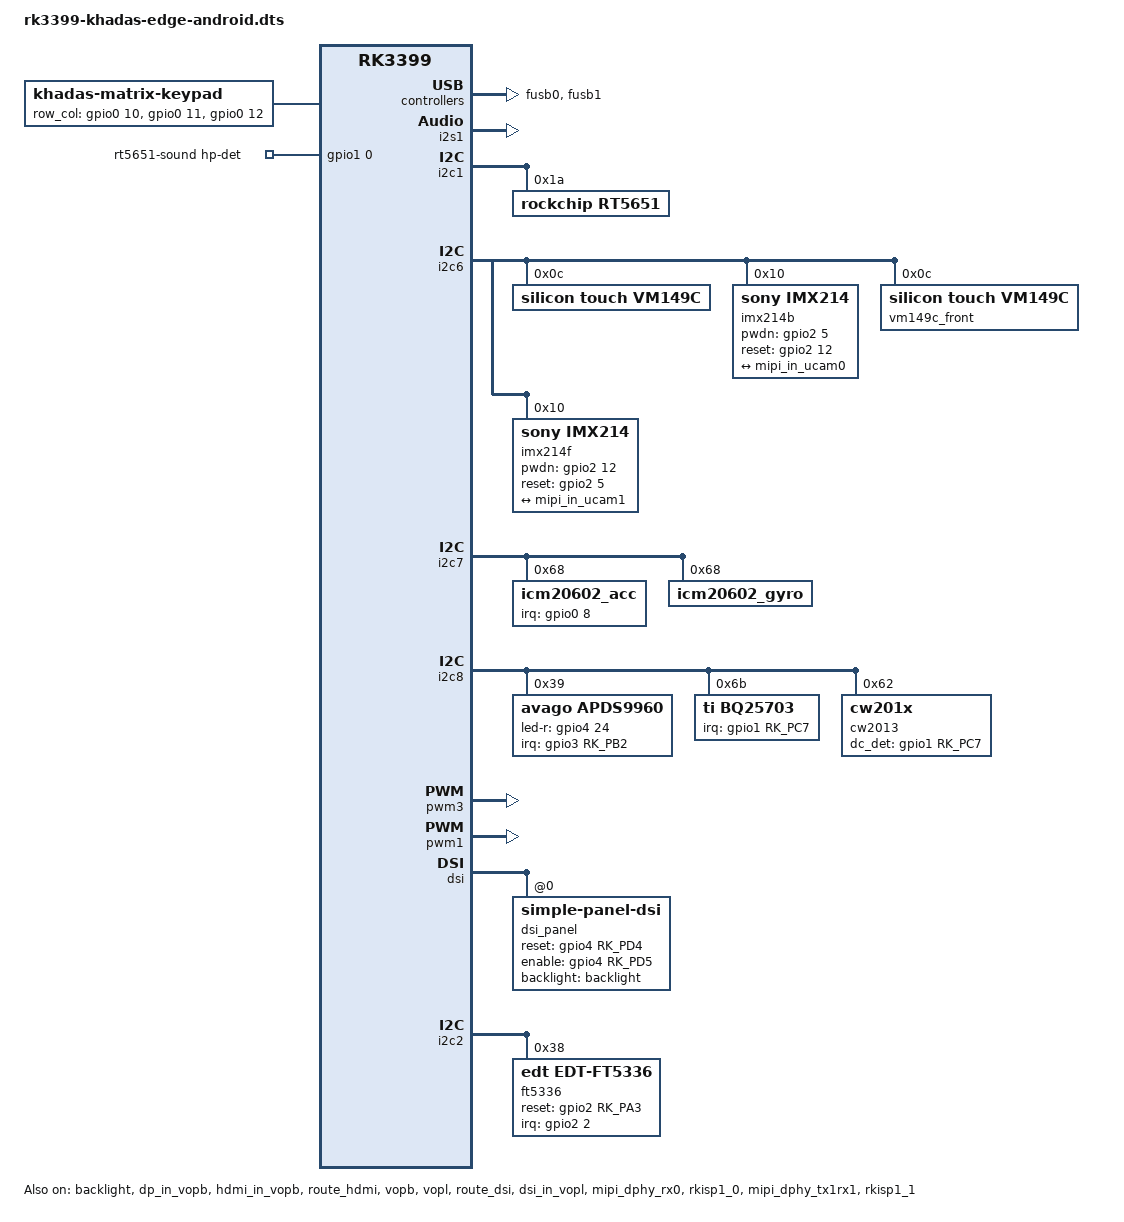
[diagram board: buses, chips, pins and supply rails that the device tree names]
// SPDX-License-Identifier: (GPL-2.0+ OR MIT)
/*
 * Copyright (c) 2018 Fuzhou Rockchip Electronics Co., Ltd
 */

/dts-v1/;

#include "rk3399-khadas-edge.dtsi"
#include <dt-bindings/sensor-dev.h>
#include <dt-bindings/input/input.h>

/ {
	compatible = "Khadas,edge", "rockchip,rk3399";
	
    khadas-matrix-keypad {
		status = "okay";
		compatible = "khadas-matrix-keypad";
		row_col_gpio =
				<&gpio0 10 GPIO_ACTIVE_HIGH>,
				<&gpio0 11 GPIO_ACTIVE_HIGH>,
				<&gpio0 12 GPIO_ACTIVE_HIGH>;
		pinctrl-names = "default";
		pinctrl-0 = <&matrix_gpio>;
		debounce-delay-ms = <10>;
		col-scan-delay-us = <10>;
		linux,no-autorepeat;
	};

	rt5651-sound {
		status = "okay";
		compatible = "simple-audio-card";

		pinctrl-names = "default";
		pinctrl-0 = <&rt5651_hpdet>;


		simple-audio-card,format = "i2s";
		simple-audio-card,name = "realtek,rt5651-codec";
		simple-audio-card,mclk-fs = <256>;
		simple-audio-card,hp-det-gpio = <&gpio1 0 GPIO_ACTIVE_HIGH>;
		simple-audio-card,widgets =
			"Microphone", "Mic Jack",
			"Headphone", "Headphone Jack";
		simple-audio-card,routing =
			"Mic Jack", "MICBIAS1",
			"IN1P", "Mic Jack",
			"Headphone Jack", "HPOL",
			"Headphone Jack", "HPOR";
		simple-audio-card,cpu {
			sound-dai = <&i2s1>;
		};
		simple-audio-card,codec {
			sound-dai = <&rt5651>;
		};
	};
};

&fusb0 {
	status = "okay";
	max-input-voltage = <13000000>;
	max-input-current = <6000000>;
	charge-dev = <&bq25703>;
};

&fusb1 {
	status = "okay";
	max-input-voltage = <13000000>;
	max-input-current = <6000000>;
	charge-dev = <&bq25703>;
};

&i2s1 {
	status = "okay";
	rockchip,i2s-broken-burst-len;
	rockchip,playback-channels = <2>;
	rockchip,capture-channels = <2>;
	#sound-dai-cells = <0>;
};

&isp0_mmu {
	status = "okay";
};

&isp0 {
	status = "disabled";
};

&isp1_mmu {
	status = "okay";
};

&isp1 {
	status = "disabled";
};

&i2c1 {
	status = "okay";
	i2c-scl-rising-time-ns = <300>;
	i2c-scl-falling-time-ns = <15>;

	rt5651: rt5651@1a {
		#sound-dai-cells = <0>;
		compatible = "rockchip,rt5651";
		reg = <0x1a>;
		clocks = <&cru SCLK_I2S_8CH_OUT>;
		clock-names = "mclk";
		pinctrl-names = "default";
		pinctrl-0 = <&i2s_8ch_mclk>;
		status = "okay";
	};
};

&i2c6 {
	status = "okay";

	vm149c: vm149c@0c {
		compatible = "silicon touch,vm149c";
		status = "okay";
		reg = <0x0c>;
		rockchip,camera-module-index = <0>;
		rockchip,camera-module-facing = "back";
	};
	
	imx214b: imx214b@10 {
		compatible = "sony,imx214";
		status = "okay";
		reg = <0x10>;
		clocks = <&cru SCLK_CIF_OUT>;
		clock-names = "xvclk";
		/* avdd-supply = <>; */
		/* dvdd-supply = <>; */
		/* dovdd-supply = <>; */
		/* reset-gpios = <>; */
		pwdn-gpios = <&gpio2 5 GPIO_ACTIVE_HIGH>;
		reset-gpios = <&gpio2 12 GPIO_ACTIVE_HIGH>;
		pinctrl-names = "rockchip,camera_default";
		pinctrl-0 = <&cif_clkout>;
		rockchip,camera-module-index = <0>;
		rockchip,camera-module-facing = "back";
		rockchip,camera-module-name = "YG9626-S600Y7-C";
		rockchip,camera-module-lens-name = "LG-50013A7";
		lens-focus = <&vm149c>;
		port {
			ucam_out0: endpoint {
				remote-endpoint = <&mipi_in_ucam0>;
				//remote-endpoint = <&mipi_in_ucam1>;
				data-lanes = <1 2>;
			};
		};
	};	

	vm149c_front: vm149c_front@0c {
		compatible = "silicon touch,vm149c";
		status = "okay";
		reg = <0x0c>;
		rockchip,camera-module-index = <1>;
		rockchip,camera-module-facing = "front";		
	};
	
	imx214f: imx214f@10 {
		compatible = "sony,imx214";
		status = "okay";
		reg = <0x10>;
		clocks = <&cru SCLK_CIF_OUT>;
		clock-names = "xvclk";
		/* avdd-supply = <>; */
		/* dvdd-supply = <>; */
		/* dovdd-supply = <>; */
		/* reset-gpios = <>; */
		pwdn-gpios = <&gpio2 12 GPIO_ACTIVE_HIGH>;
		reset-gpios = <&gpio2 5 GPIO_ACTIVE_HIGH>;
		pinctrl-names = "rockchip,camera_default";
		pinctrl-0 = <&cif_clkout>;
		rockchip,camera-module-index = <1>;
		rockchip,camera-module-facing = "front";
		rockchip,camera-module-name = "YG9626-S600Y7-C";
		rockchip,camera-module-lens-name = "LG-50013A7";
		lens-focus = <&vm149c_front>;
		port {
			ucam_out1: endpoint {
				//remote-endpoint = <&mipi_in_ucam0>;
				remote-endpoint = <&mipi_in_ucam1>;
				data-lanes = <1 2>;
			};
		};
	};	
};

&i2c7 {
	status = "okay";

	icm20602_acc: icm_acc@68 {
		compatible = "icm20602_acc";
		reg = <0x68>;
		irq-gpio = <&gpio0 8 IRQ_TYPE_LEVEL_LOW>; /* GPIO0_B0 */
		irq_enable = <0>;
		poll_delay_ms = <30>;
		type = <SENSOR_TYPE_ACCEL>;
		layout = <9>;
	};

	icm20602_gyro: icm_gyro@68 {
		compatible = "icm20602_gyro";
		reg = <0x68>;
		irq_enable = <0>;
		poll_delay_ms = <30>;
		type = <SENSOR_TYPE_GYROSCOPE>;
		layout = <7>;
	};
};

&i2c8 {
	status = "okay";
	i2c-scl-rising-time-ns = <600>;
	i2c-scl-falling-time-ns = <20>;

	apds9960@39 {
		compatible = "avago,apds9960";
		reg = <0x39>;
		interrupt-parent = <&gpio3>;
		interrupts = <RK_PB2 IRQ_TYPE_LEVEL_LOW>;
		led-r-gpio = <&gpio4 24 GPIO_ACTIVE_HIGH>;		
		pinctrl-names = "default";
		pinctrl-0 = <&apds_int_l>;
	};

	bq25703: bq25703@6b {
		compatible = "ti,bq25703";
		reg = <0x6b>;
		extcon = <&fusb0>, <&fusb1>;
		interrupt-parent = <&gpio1>;
		interrupts = <RK_PC7 IRQ_TYPE_LEVEL_LOW>; /* GPIO1_C7 */
		pinctrl-names = "default";
		pinctrl-0 = <&charger_ok>;
		ti,charge-current = <1500000>;
		ti,max-charge-voltage = <8500000>;
		ti,max-input-voltage = <20000000>;
		ti,max-input-current = <6000000>;
		ti,input-current-sdp = <500000>;
		ti,input-current-dcp = <2000000>;
		ti,input-current-cdp = <2000000>;
		ti,input-current-dc = <2000000>;
		ti,minimum-sys-voltage = <7400000>;
		ti,otg-voltage = <5000000>;
		ti,otg-current = <500000>;
		ti,input-current = <500000>;
		pd-charge-only = <0>;
		status = "okay";
	};

	cw2013: cw2013@62 {
		status = "okay";
		compatible = "cw201x";
		reg = <0x62>;
		bat_config_info = <0x15 0x7F 0x6E 0x66 0x65 0x5C 0x5B 0x59
				0x58 0x57 0x57 0x54 0x53 0x51 0x4B 0x48
				0x40 0x33 0x2A 0x26 0x23 0x25 0x2A 0x34
				0x45 0x4F 0x0C 0xCD 0x44 0x68 0x67 0x68
				0x6E 0x6F 0x6C 0x68 0x3A 0x10 0x8A 0x01
				0x01 0x54 0x52 0x87 0x8F 0x91 0x94 0x52
				0x82 0x8C 0x92 0x96 0x82 0xFF 0xFF 0xCB
				0x2F 0x7D 0x64 0xA5 0xB5 0x13 0x58 0x09>;
		monitor_sec = <5>;
		virtual_power = <0>;
		divider_res1 = <200>;
		divider_res2 = <200>;
		dc_det_gpio = <&gpio1 RK_PC7 GPIO_ACTIVE_HIGH>;
	};
};

&rk_key {
	enter-key {
		linux,code = <232>;
		label = "enter";
		rockchip,adc_value = <170>;
	};
};


&pwm3 {
	status = "okay";

	interrupts = <GIC_SPI 61 IRQ_TYPE_LEVEL_HIGH 0>;
	compatible = "rockchip,remotectl-pwm";
	remote_pwm_id = <3>;
	handle_cpu_id = <1>;
	remote_support_psci = <1>;
	pinctrl-names = "default";
	pinctrl-0 = <&pwm3b_pin>;

	ir_key1 {
		rockchip,usercode = <0xff00>;
		rockchip,key_table =
			<0xeb   KEY_POWER>,
			<0xec   KEY_MENU>,
			<0xfc   KEY_UP>,
			<0xfd   KEY_DOWN>,
			<0xf1   KEY_LEFT>,
			<0xe5   KEY_RIGHT>,
			<0xf8   232>,
			<0xa7   KEY_VOLUMEDOWN>,
			<0xa3    388>,  //mouse func
			<0xa4    388>,  //mouse func
			<0xf4   KEY_VOLUMEUP>,
			<0xfe   KEY_BACK>,
			<0xb7   KEY_HOME>;

	};

};

&backlight {
	pwms = <&pwm1 0 25000 0>;
	status = "okay";
};


&pwm1 {
	status = "okay";
};

&dp_in_vopl {
	status = "disabled";
};

&dp_in_vopb {
	status = "okay";
};

&hdmi_in_vopb {
	status = "okay";
};

&hdmi_in_vopl {
	status = "disabled";
};

&route_hdmi {
	status = "okay";
	connect = <&vopb_out_hdmi>;
};

&vopb {
	status = "okay";
	assigned-clocks = <&cru DCLK_VOP0_DIV>;
	assigned-clock-parents = <&cru PLL_VPLL>;
};

&vopl {
	status = "okay";
	assigned-clocks = <&cru DCLK_VOP1_DIV>;
	assigned-clock-parents = <&cru PLL_CPLL>;
};
&route_dsi {
	status = "okay";
	connect = <&vopl_out_dsi>;
};

&dsi_in_vopb {
	status = "disabled";
};

&dsi_in_vopl {
	status = "okay";
};

&dsi {
    status = "okay";
    rockchip,lane-rate = <1000>;
    dsi_panel: panel@0 {
        status = "okay";
        compatible = "simple-panel-dsi";
        reg = <0>;
        backlight = <&backlight>;
        reset-gpios = <&gpio4 RK_PD4 GPIO_ACTIVE_HIGH>; /* GPIO4_D4 */
        enable-gpios = <&gpio4 RK_PD5 GPIO_ACTIVE_HIGH>; /* GPIO4_D5 */
//		pinctrl-names = "default";
//      pinctrl-0 = <&lcd_reset_gpio>, <&lcd_enable_gpio>;
        reset-delay-ms = <10>;
        enable-delay-ms = <60>;
        prepare-delay-ms = <60>;
        unprepare-delay-ms = <60>;
        disable-delay-ms = <60>;
        dsi,flags = <(MIPI_DSI_MODE_VIDEO | MIPI_DSI_MODE_VIDEO_BURST |
                  MIPI_DSI_MODE_LPM | MIPI_DSI_MODE_EOT_PACKET)>;

		dsi,format = <MIPI_DSI_FMT_RGB888>;
        dsi,lanes  = <4>;
        panel-init-sequence = [
			15 00 02  E0 00
			15 00 02  E1 93
			15 00 02  E2 65
			15 00 02  E3 F8
			15 00 02  80 03
			15 00 02  E0 04
			15 00 02  2D 03
			15 00 02  E0 01
			15 00 02  01 B7
			15 00 02  17 00
			15 00 02  18 B2
			15 00 02  19 01
			15 00 02  1A 00
			15 00 02  1B B2
			15 00 02  1C 01
			15 00 02  1F 7E
			15 00 02  20 28
			15 00 02  21 28
			15 00 02  22 0E
			15 00 02  24 C8
			15 00 02  37 29
			15 00 02  38 05
			15 00 02  39 08
			15 00 02  3A 12
			15 00 02  3C 78
			15 00 02  3D FF
			15 00 02  3E FF
			15 00 02  3F FF
			15 00 02  40 06
			15 00 02  41 A0
			15 00 02  55 01
			15 00 02  56 01
			15 00 02  57 89
			15 00 02  58 0A
			15 00 02  59 2A
			15 00 02  5A 31
			15 00 02  5B 15
			15 00 02  5D 7C
			15 00 02  5E 59
			15 00 02  5F 47
			15 00 02  60 39
			15 00 02  61 33
			15 00 02  62 23
			15 00 02  63 27
			15 00 02  64 10
			15 00 02  65 27
			15 00 02  66 25
			15 00 02  67 23
			15 00 02  68 3F
			15 00 02  69 2C
			15 00 02  6A 33
			15 00 02  6B 25
			15 00 02  6C 23
			15 00 02  6D 17
			15 00 02  6E 0A
			15 00 02  6F 00
			15 00 02  70 7C
			15 00 02  71 59
			15 00 02  72 47
			15 00 02  73 39
			15 00 02  74 33
			15 00 02  75 23
			15 00 02  76 27
			15 00 02  77 10
			15 00 02  78 27
			15 00 02  79 25
			15 00 02  7A 23
			15 00 02  7B 3F
			15 00 02  7C 2C
			15 00 02  7D 33
			15 00 02  7E 25
			15 00 02  7F 23
			15 00 02  80 17
			15 00 02  81 0A
			15 00 02  82 00
			15 00 02  E0 02
			15 00 02  00 00
			15 00 02  01 04
			15 00 02  02 08
			15 00 02  03 05
			15 00 02  04 09
			15 00 02  05 06
			15 00 02  06 0A
			15 00 02  07 07
			15 00 02  08 0B
			15 00 02  09 1f
			15 00 02  0A 1f
			15 00 02  0B 1f
			15 00 02  0C 1f
			15 00 02  0D 1f
			15 00 02  0E 1f
			15 00 02  0F 17
			15 00 02  10 37
			15 00 02  11 10
			15 00 02  12 1F
			15 00 02  13 1F
			15 00 02  14 1F
			15 00 02  15 1F
			15 00 02  16 00
			15 00 02  17 04
			15 00 02  18 08
			15 00 02  19 05
			15 00 02  1A 09
			15 00 02  1B 06
			15 00 02  1C 0A
			15 00 02  1D 07
			15 00 02  1E 0B
			15 00 02  1F 1f
			15 00 02  20 1f
			15 00 02  21 1f
			15 00 02  22 1f
			15 00 02  23 1f
			15 00 02  24 1f
			15 00 02  25 17
			15 00 02  26 37
			15 00 02  27 10
			15 00 02  28 1F
			15 00 02  29 1F
			15 00 02  2A 1F
			15 00 02  2B 1F
			15 00 02  58 01
			15 00 02  5B 00
			15 00 02  5C 01
			15 00 02  5D 30
			15 00 02  5E 00
			15 00 02  5F 00
			15 00 02  60 30
			15 00 02  61 00
			15 00 02  62 00
			15 00 02  63 03
			15 00 02  64 6A
			15 00 02  65 45
			15 00 02  66 08
			15 00 02  67 73
			15 00 02  68 05
			15 00 02  69 06
			15 00 02  6A 6A
			15 00 02  6B 08
			15 00 02  6C 00
			15 00 02  6D 00
			15 00 02  6E 00
			15 00 02  6F 88
			15 00 02  75 80
			15 00 02  76 00
			15 00 02  77 05
			15 00 02  78 10
			15 00 02  E0 01
			15 00 02  0E 01
			15 00 02  E0 03
			15 00 02  98 2F
			15 00 02  E0 04
			15 00 02  2B 2B
			15 00 02  2E 44
			15 00 02  E0 00
			15 00 02  E6 02
			15 00 02  E7 02
			05 78 01  11
			05 0A 01  29
		];
		panel-exit-sequence = [
			05 05 01 28
			05 78 01 10
		];
 
        disp_timings: display-timings {
            native-mode = <&timing0>;
            timing0: timing0 {
				clock-frequency = <76400000>;
                hactive = <800>; /* default 1080, but afbdc must 16 align */
                hfront-porch = <60>;
                hback-porch = <20>;
                hsync-len = <20>; /////
                vactive = <1280>;
                vfront-porch = <30>;
                vback-porch = <4>;
                vsync-len = <10>; /////
                hsync-active = <0>;
                vsync-active = <0>;
                de-active = <0>;
                pixelclk-active = <0>;
            };
        };
    };
};

&i2c2 {
    status = "okay";
    i2c-scl-rising-time-ns = <600>;
    i2c-scl-falling-time-ns = <20>;

	ft5336@38 {
		compatible = "edt,edt-ft5336", "ft5x06";
		reg = <0x38>;
		interrupt-parent = <&gpio2>;
		interrupts = <2 IRQ_TYPE_EDGE_FALLING>;
		reset-gpio = <&gpio2 RK_PA3 GPIO_ACTIVE_HIGH>; /* GPIO2_A3 */
		status = "okay";
	};
};

&pinctrl {
	matrix {
		matrix_gpio: matrix_gpio {
			rockchip,pins =
				<0 10 RK_FUNC_GPIO &pcfg_pull_up>,
				<0 11 RK_FUNC_GPIO &pcfg_pull_up>,
				<0 12 RK_FUNC_GPIO &pcfg_pull_up>;
		};
	};

	apds_int_l: apds-int-l {
		rockchip,pins = <3 10 RK_FUNC_GPIO &pcfg_pull_up>;
	};

	charger {
		charger_ok: charge-ok {
			rockchip,pins = <1 RK_PC7 RK_FUNC_GPIO &pcfg_pull_up>; /* GPIO1_C7 */
		};
	};

	rt5651 {
		rt5651_hpdet: rt5651-hpdet {
			rockchip,pins = <1 0 RK_FUNC_GPIO &pcfg_pull_up>; /* GPIO1_A0 */
		};
	};
};

&mipi_dphy_rx0 {
	status = "okay";

	ports {
		#address-cells = <1>;
		#size-cells = <0>;

		port@0 {
			reg = <0>;
			#address-cells = <1>;
			#size-cells = <0>;

			mipi_in_ucam0: endpoint@1 {
				reg = <1>;
				remote-endpoint = <&ucam_out0>;
				data-lanes = <1 2>;
			};
		};

		port@1 {
			reg = <1>;
			#address-cells = <1>;
			#size-cells = <0>;

			dphy_rx0_out: endpoint@0 {
				reg = <0>;
				remote-endpoint = <&isp0_mipi_in>;
			};
		};
	};
};

&rkisp1_0 {
	status = "okay";

	port {
		#address-cells = <1>;
		#size-cells = <0>;

		isp0_mipi_in: endpoint@0 {
			reg = <0>;
			remote-endpoint = <&dphy_rx0_out>;
		};
	};
};

&mipi_dphy_tx1rx1 {
	status = "okay";

	ports {
		#address-cells = <1>;
		#size-cells = <0>;

		port@0 {
			reg = <0>;
			#address-cells = <1>;
			#size-cells = <0>;

			mipi_in_ucam1: endpoint@1 {
				reg = <1>;
				remote-endpoint = <&ucam_out1>;
				data-lanes = <1 2>;
			};
		};

		port@1 {
			reg = <1>;
			#address-cells = <1>;
			#size-cells = <0>;

			dphy_tx1rx1_out: endpoint@0 {
				reg = <0>;
				remote-endpoint = <&isp1_mipi_in>;
			};
		};
	};
};

&rkisp1_1 {
	status = "okay";

	port {
		#address-cells = <1>;
		#size-cells = <0>;

		isp1_mipi_in: endpoint@0 {
			reg = <0>;
			remote-endpoint = <&dphy_tx1rx1_out>;
		};
	};
};
